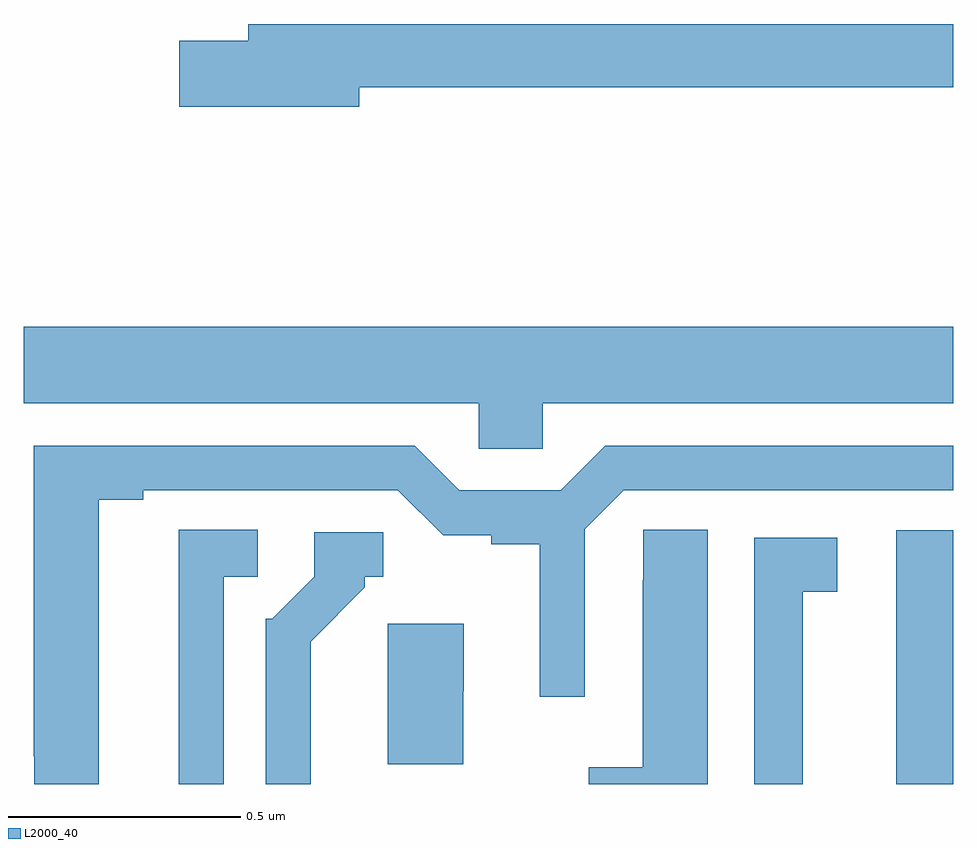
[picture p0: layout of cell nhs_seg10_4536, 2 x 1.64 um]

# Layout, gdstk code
import gdstk
lib = gdstk.Library(unit=1e-6, precision=1e-09)
def R(c, l, rs):  # rectangles x0, y0, x1, y1
    for r in rs: c.add(gdstk.rectangle(r[:2], r[2:], *l))
def P(c, l, *ps):  # polygons
    for p in ps: c.add(gdstk.Polygon(p, *l))
L2000_40 = (2000, 40)

nhs_seg10_4536 = lib.new_cell('nhs_seg10_4536')
R(nhs_seg10_4536, L2000_40, [(168.878,1295.5,169,1296.046)])
P(nhs_seg10_4536, L2000_40, [(167.722,1297),(169,1297),(169,1297.136),(167.483,1297.136),(167.483,1297.1),(167.334,1297.1),(167.334,1296.958),(167.722,1296.958)],
  [(168.117,1296.32),(169,1296.32),(169,1296.484),(167,1296.484),(167,1296.32),(167.979,1296.32),(167.979,1296.222),(168.117,1296.222)],
  [(167.161,1296.112),(167.257,1296.112),(167.257,1296.132),(167.805,1296.132),(167.903,1296.035),(168.006,1296.035),(168.006,1296.016),(168.11,1296.016),(168.11,1295.688),(168.207,1295.688),(168.207,1296.048),(168.291,1296.132),(169,1296.132),(169,1296.228),(168.251,1296.228),(168.155,1296.132),(167.937,1296.132),(167.841,1296.228),(167.021,1296.228),(167.021,1295.56),(167.022,1295.56),(167.022,1295.5),(167.161,1295.5)],
  [(167.43,1295.946),(167.503,1295.946),(167.503,1296.047),(167.333,1296.047),(167.333,1295.5),(167.43,1295.5)],
  [(168.472,1296.047),(168.333,1296.047),(168.333,1295.939),(168.332,1295.939),(168.332,1295.536),(168.216,1295.536),(168.216,1295.5),(168.472,1295.5)],
  [(167.617,1295.806),(167.734,1295.923),(167.734,1295.946),(167.773,1295.946),(167.773,1296.042),(167.625,1296.042),(167.625,1295.946),(167.535,1295.856),(167.52,1295.856),(167.52,1295.5),(167.617,1295.5)],
  [(168.676,1295.914),(168.751,1295.914),(168.751,1296.03),(168.572,1296.03),(168.572,1295.5),(168.676,1295.5)],
  [(167.946,1295.7),(167.947,1295.7),(167.947,1295.845),(167.783,1295.845),(167.783,1295.542),(167.946,1295.542)])

lib.write_gds('nhs_seg10_4536.gds')
